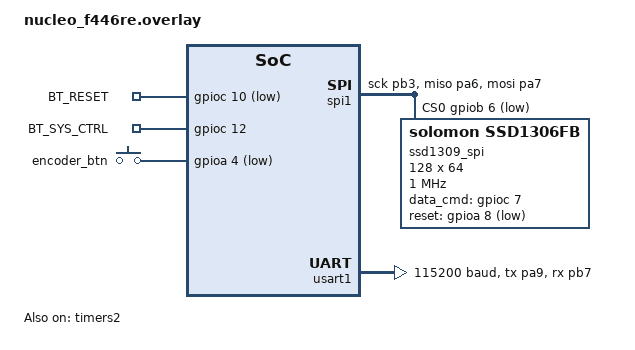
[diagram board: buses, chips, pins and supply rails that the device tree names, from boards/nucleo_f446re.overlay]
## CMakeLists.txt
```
cmake_minimum_required(VERSION 3.20.0)

set(CMAKE_EXPORT_COMPILE_COMMANDS ON)

find_package(Zephyr REQUIRED HINTS $ENV{ZEPHYR_BASE})
project(blamp)

include(FetchContent)
FetchContent_Declare(
  EDF
  GIT_REPOSITORY https://github.com/AdamVeazey/edf.git
  GIT_TAG        dev   # Or a specific commit hash/tag/branch
)

FetchContent_MakeAvailable(EDF)

# FIX: Force EDF to inherit Zephyr's compiler options, include paths, and Picolibc specs
target_link_libraries(EDF PRIVATE zephyr_interface)

target_include_directories(app PRIVATE inc)

target_sources(app PRIVATE
    src/Blamp_Audio.cpp
    src/Blamp_Blampknob.cpp
    src/Blamp_BT.cpp
    src/Blamp.cpp
    src/CLI_audio.cpp
    src/CLI_blampknob.cpp
    src/DisplayUI.cpp
    src/FSC_BT1026.cpp
    src/main.cpp
    src/ThreadBT.cpp
)

target_link_libraries(app PRIVATE EDF)
```

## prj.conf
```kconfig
CONFIG_CPP=y
CONFIG_STD_CPP20=y
CONFIG_GLIBCXX_LIBCPP=y

CONFIG_MAIN_STACK_SIZE=4096
CONFIG_SHELL_STACK_SIZE=2048
CONFIG_LOG_BUFFER_SIZE=1024
CONFIG_SYSTEM_WORKQUEUE_STACK_SIZE=2048

# Enable SPI subsystem
CONFIG_SPI=y

# Enable Display subsystem and the specific driver
CONFIG_DISPLAY=y
CONFIG_SSD1306=y

# Enable LVGL GUI framework
CONFIG_LVGL=y
# Allocate a dedicated memory pool for LVGL objects
CONFIG_LV_Z_MEM_POOL_SIZE=8192
# Tell LVGL we are on a 1-bit monochrome OLED
CONFIG_LV_COLOR_DEPTH_1=y
CONFIG_LV_Z_BITS_PER_PIXEL=1
CONFIG_LV_Z_VDB_SIZE=100
CONFIG_LV_USE_LABEL=y
CONFIG_LV_FONT_DEFAULT_UNSCII_8=y

# Quadrature decoder only needs generic sensor API
CONFIG_SENSOR=y

# Enable Input Subsystem
CONFIG_INPUT=y
CONFIG_INPUT_GPIO_KEYS=y
CONFIG_INPUT_LONGPRESS=y

# Enable the serial driver
CONFIG_SERIAL=y

# DISABLE console and the raw UART backend so it doesn't double print
CONFIG_CONSOLE=n
CONFIG_UART_CONSOLE=n

# Enable shell
CONFIG_SHELL=y
CONFIG_SHELL_BACKEND_SERIAL=y
CONFIG_SHELL_PROMPT_UART=">"

# Enable the logging subsystem
CONFIG_LOG=y
CONFIG_LOG_BACKEND_UART=y
CONFIG_LOG_MODE_DEFERRED=y
# Redirect standard printk messages into the Logger engine
CONFIG_LOG_PRINTK=y

# Setup BT module comms
CONFIG_MODEM_MODULES=y
CONFIG_MODEM_CHAT=y
CONFIG_MODEM_BACKEND_UART=y
CONFIG_UART_INTERRUPT_DRIVEN=y
```

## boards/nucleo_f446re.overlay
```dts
/* app/boards/nucleo_f446re.overlay */

#include <zephyr/dt-bindings/input/input-event-codes.h>

/ {
    chosen {
        zephyr,display = &ssd1309_spi;
    };

    bt_pins {
        compatible = "gpio-leds";

        bt_reset: bt_reset {
            gpios = <&gpioc 10 GPIO_ACTIVE_LOW>;
            label = "BT_RESET"; /* Matches schematic name */
        };

        bt_sys_ctrl: bt_sys_ctrl {
            gpios = <&gpioc 12 GPIO_ACTIVE_HIGH>;
            label = "BT_SYS_CTRL"; /* Matches schematic name */
        };
    };

    buttons {
        compatible = "gpio-keys";
        encoder_btn: encoder_btn {
            gpios = <&gpioa 4 (GPIO_PULL_UP | GPIO_ACTIVE_LOW)>;
            zephyr,code = <INPUT_KEY_SPACE>;
        };
    };

    longpress {
        compatible = "zephyr,input-longpress";
        input-codes = <INPUT_KEY_SPACE>;            /* Listen to this raw code */
        short-codes = <INPUT_KEY_ENTER>;            /* Send this if tapped quickly */
        long-codes  = <INPUT_KEY_MENU>;             /* Send this if held down! */
        long-delay-ms = <800>;                      /* Held threshold (800ms) */
    };

    aliases {
		modem = &usart1;
        bt-reset = &bt_reset;
        bt-sys-ctrl = &bt_sys_ctrl;
	};
};

&spi1 {
    status = "okay";
    /* Matches your working pins: PB3 (CLK) and PA7 (MOSI) */
    pinctrl-0 = <&spi1_sck_pb3 &spi1_miso_pa6 &spi1_mosi_pa7>;
    pinctrl-names = "default";
    cs-gpios = <&gpiob 6 GPIO_ACTIVE_LOW>;

    ssd1309_spi: ssd1309@0 {
        compatible = "solomon,ssd1306fb";
        reg = <0>;
        spi-max-frequency = <1000000>; /* Keep it at a safe 1 MHz */
        width = <128>;
        height = <64>;
        ready-time-ms = <50>;
        segment-offset = <0>;
        page-offset = <0>;
        display-offset = <0>;
        multiplex-ratio = <63>;
        segment-remap;
        com-invdir;
        prechargep = <0x22>;

        /* Working Data/Command and Reset pins */
        data_cmd-gpios = <&gpioc 7 GPIO_ACTIVE_HIGH>;
        reset-gpios = <&gpioa 8 GPIO_ACTIVE_LOW>;
    };
};

&timers2 {
    status = "okay";
    qdec: qdec {
        status = "okay";
        pinctrl-0 = <&tim2_ch1_pa0 &tim2_ch2_pa1>;
        pinctrl-names = "default";
        st,input-filter-level = <5>;
        st,counts-per-revolution = <96>; /* 24 detents * 4 = 96 counts */
    };
};

&usart1 {
	pinctrl-0 = <&usart1_tx_pa9 &usart1_rx_pb7>;
	pinctrl-names = "default";
	current-speed = <115200>;
	status = "okay";
};

&flash0 {
    /delete-node/ partitions;
};
```

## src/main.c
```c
#include <zephyr/kernel.h>
#include <zephyr/sys/printk.h>

int main(void)
{
    printk("Hello World from %s!\n", CONFIG_BOARD);

    while (1) {
        k_msleep(1000);
    }
    return 0;
}
```

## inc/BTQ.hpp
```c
#pragma once

#include "MessageQueue.hpp"
#include "InputSource.hpp"

// Bluetooth Queue message Enumerations
enum class BTQEnum {
    SetPlayback,    // bool play
    SetVolume,      // uint8_t percent (0-100)
};

// Message Queue consumed by ThreadBT
using BTQ = MessageQueue<BTQEnum, 16, 8>;

class BTQ_SetPlayback : public BTQ {
private:
    PlaybackAction action;
public:
    BTQ_SetPlayback( PlaybackAction action ) :
        BTQ( Enum::SetPlayback ),
        action(action)
    { verifyMessageSize<BTQ_SetPlayback>(); }
    PlaybackAction getAction() const { return action; }
};

class BTQ_SetVolume : public BTQ {
private:
    uint8_t percent;
public:
    BTQ_SetVolume( uint8_t percent ) :
        BTQ( Enum::SetVolume ),
        percent(percent)
    { verifyMessageSize<BTQ_SetVolume>(); }
    uint8_t getPercent() const { return percent; }
};
```

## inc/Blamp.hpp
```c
#pragma once

#include "MainSysQ.hpp"
#include "ContextAudio.hpp"
#include "ContextConnections.hpp"
#include "DisplayUI.hpp"


/**
 * Main system coordinator
 */
class Blamp {
private:
    inline static ContextAudio audio;
    inline static ContextConnections connections;
    inline static DisplayUI display;
    inline static DisplayUI::MenuState state;
private:
    // MainSysQ::Enum::Blampknob_*
    static void handleBlampknob_Position( const MainSysQ_BlampKnob_Position& position );
    static void handleBlampknob_Press( const MainSysQ_BlampKnob_Press& press );

    // MainSysQ::Enum::Audio_*
    static void handleAudio_Playback( const MainSysQ_Audio_Playback& action );
    static void handleAudio_ChangeSource( const MainSysQ_Audio_ChangeSource& source );
    static void handleAudio_Volume( const MainSysQ_Audio_Volume& volume );
    static void handleAudio_TAS3251Err( const MainSysQ_Audio_TAS3251Err& err );
    static void handleAudio_PCM9211Err( const MainSysQ_Audio_PCM9211Err& err );

    static void handleBT_IsPlaying( const MainSysQ_BT_IsPlaying& bt );
    static void handleBT_Connected( const MainSysQ_BT_Connected& bt );
public:
    static void init();
    static void processEvents( const MainSysQ& message );
};
```

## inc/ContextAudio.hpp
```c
#pragma once

#include <cstdint>

struct ContextAudio {
    int32_t volume = 0;
    bool isPlaying = false;
    bool isMuted = false;
};
```

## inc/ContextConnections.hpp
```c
#pragma once

#include <cstdint>
#include "InputSource.hpp"

struct ContextConnections {
    bool bluetoothConnected = false;
    bool hdmiArcActive = false;
    bool auxConnected = false;
    bool usbConnected = false;
    InputSource audioSource = InputSource::UNKNOWN;
};
```

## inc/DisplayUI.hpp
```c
#pragma once

#include <cstdint>
#include <lvgl.h>
#include <zephyr/drivers/display.h>
#include "InputSource.hpp"

class DisplayUI {
public:
    enum class MenuState {
        Home,               // Knob turns volume, click toggles play/pause, long-press enters source selection
        SubmenuSelect,      // Knob scrolls submenus, click selects another menu, long-press goes back
            SourceSelect,   // knob scrolls InputSource, click selects a source, long-press goes back
            BTPairing,      // click to cancel
    };
    enum class Submenu {
        InputSourceSelection,
        BluetoothPairing,
    };
private:
    static const device* display;
    static constexpr uint32_t BLANK_TIMEOUT_MS = 10'000;
    uint32_t lastActivityTime = 0;

    // Home Screen
    lv_obj_t* screenHome = nullptr;
    // Home widgets
    lv_obj_t* labelHomeVolume = nullptr;
    lv_obj_t* labelHomePlaying = nullptr;
    lv_obj_t* labelHomeSource = nullptr;

    // Submenu Screen
    lv_obj_t* screenSubmenu = nullptr;
    // Submenu widgets
    lv_obj_t* listSubmenu = nullptr;
    lv_obj_t* btnSubmenuSource = nullptr;
    lv_obj_t* btnSubmenuBT = nullptr;

    // Input Source Slect Screen
    lv_obj_t* screenSourceSelect = nullptr;
    // Source Select widgets
    lv_obj_t* rollerSource = nullptr;

    // Bluetooth Pairing Screen
    lv_obj_t* screenBtPairing = nullptr;

    lv_group_t* groupEncoder = nullptr;
private:
    static void checkInactivityCb_C( lv_timer_t* timer ) { static_cast<DisplayUI*>(timer->user_data)->checkInactivityCb(timer); }
    void checkInactivityCb( lv_timer_t* timer );
    void applyOledStyle( lv_obj_t* obj );
    void applyMonochromeFocusStyle( lv_obj_t* btn );
    void applyMonochromeRollerStyle( lv_obj_t* roller );
    uint16_t inputSourceToRollerIndex( InputSource source );
    InputSource rollerIndexToInputSource( uint16_t index );
public:
    void init();
    void showHomeScreen( bool isPlayingAudio, uint8_t volume, InputSource source );
    void showSubmenuSelect();
    void showSourceSelect( InputSource source );
    void showBTPairing();

    void updateHomeAudioPlaying( bool isPlayingAudio );
    void updateHomeVolume( int32_t volume );
    void updateHomeInputSource( InputSource source );

    void scrollMenuDown();
    void scrollMenuUp();

    Submenu getSubmenuSelected();
    InputSource getInputSourceSelected();

    void resetInactivityTimer();
};
```

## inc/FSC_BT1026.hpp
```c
#pragma once

#include <zephyr/modem/chat.h>
#include <zephyr/modem/backend/uart.h>
#include <optional>
#include <string_view>
#include <EDF/BitField.hpp>
#include <EDF/String.hpp>
#include <EDF/Math.hpp>

namespace FSC {

struct Version {
    EDF::String<32> module;
    EDF::String<32> version;
    EDF::String<32> date;
};

class I2SCFG : public EDF::BitField8 {
    public:
    enum class Frequency {
        FS48000 = 0x00, // 48kHz
        FS44100 = 0x01, // 44.1kHz
    };
    enum class BitDepth {
        B16 = 0x00,
        B24 = 0x01,
        B32 = 0x02,
    };
    using EDF::BitField8::BitField8;

    constexpr bool getEnabled() const { return get(0, 1); }
    constexpr I2SCFG& setEnable( bool enable ) { set(0, 1, enable); return *this; }

    constexpr bool getSlave() const { return get(1, 1); }
    constexpr I2SCFG& setSlave( bool slave ) { set(1, 1, slave); return *this; }

    constexpr Frequency getFrequency() const { return static_cast<Frequency>(get(2, 1)); }
    constexpr I2SCFG& setFrequency( Frequency f ) { set(2, 1, static_cast<uint8_t>(f)); return *this; }

    constexpr bool getRight() const { return get(3, 1); }
    constexpr I2SCFG& setRight( bool enabled ) { set(3, 1, enabled); return *this; }

    constexpr bool getNoDelay() const { return get(4, 1); }
    constexpr I2SCFG& setNoDelay( bool enabled ) { set(4, 1, enabled); return *this; }

    constexpr BitDepth getBitDepth() const { return static_cast<BitDepth>(get(5, 2)); }
    constexpr I2SCFG& setBitDepth( BitDepth depth ) { set(5, 2, static_cast<uint8_t>(depth)); return *this; }
};

class Profile : public EDF::BitField16 {
public:
    using EDF::BitField16::BitField16;

    // Serial Port Profile
    constexpr bool getSPP() const { return get(0, 1); }
    constexpr Profile& setSPP( bool enable ) { set(0, 1, enable); return *this; }

    constexpr bool getGATTServer() const { return get(1, 1); }
    constexpr Profile& setGATTServer( bool enable ) { set(1, 1, enable); return *this; }

    constexpr bool getGATTClient() const { return get(2, 1); }
    constexpr Profile& setGATTClient( bool enable ) { set(2, 1, enable); return *this; }

    constexpr bool getHFP_HF() const { return get(3, 1); }
    constexpr Profile& setHFP_HF( bool enable ) { set(3, 1, enable); return *this; }

    constexpr bool getHFP_AG() const { return get(4, 1); }
    constexpr Profile& setHFP_AG( bool enable ) { set(4, 1, enable); return *this; }

    constexpr bool getA2DPSink() const { return get(5, 1); }
    constexpr Profile& setA2DPSink( bool enable ) { set(5, 1, enable); return *this; }

    constexpr bool getA2DPSource() const { return get(6, 1); }
    constexpr Profile& setA2DPSource( bool enable ) { set(6, 1, enable); return *this; }

    constexpr bool getAVRCPController() const { return get(7, 1); }
    constexpr Profile& setAVRCPController( bool enable ) { set(7, 1, enable); return *this; }

    constexpr bool getAVRCPTarget() const { return get(8, 1); }
    constexpr Profile& setAVRCPTarget( bool enable ) { set(8, 1, enable); return *this; }

    constexpr bool getHIDKeyboard() const { return get(9, 1); }
    constexpr Profile& setHIDKeyboard( bool enable ) { set(9, 1, enable); return *this; }

    constexpr bool getPBAPServer() const { return get(10, 1); }
    constexpr Profile& setPBAPServer( bool enable ) { set(10, 1, enable); return *this; }
};

class DEVSTATE : public EDF::BitField8 {
public:
    using EDF::BitField8::BitField8;

    constexpr bool isPowerOn() const { return get(0, 1); }
    constexpr bool isBR_EDR_Discoverable() const { return get(1, 1); }
    constexpr bool isBLEAdvertising() const { return get(2, 1); }
    constexpr bool isBR_EDR_Scanning() const { return get(3, 1); }
    constexpr bool isBLEScanning() const { return get(4, 1); }
};

enum class SPPSTATE {
    Unsupported     = 0x00,
    Standby         = 0x01,
    Connecting      = 0x02,
    Connected       = 0x03,
};

enum class GATTSTATE {
    Unsupported     = 0x00,
    Standby         = 0x01,
    Connecting      = 0x02,
    Connected       = 0x03,
};

enum class HFPSTATE {
    Unsupported     = 0x00,
    Standby         = 0x01,
    Connecting      = 0x02,
    Connected       = 0x03,
    OutgoingCall    = 0x04,
    IncomingCall    = 0x05,
    ActiveCall      = 0x06,
};

enum class A2DPSTATE {
    Unsupported     = 0x00,
    Standby         = 0x01,
    Connecting      = 0x02,
    Connected       = 0x03,
    Streaming       = 0x04,
};

enum class AVRCPSTATE {
    Unsupported     = 0x00,
    Standby         = 0x01,
    Connecting      = 0x02,
    Connected       = 0x03,
};

enum class HIDSTATE {
    Unsupported     = 0x00,
    Standby         = 0x01,
    Connecting      = 0x02,
    Connected       = 0x03,
};

enum class PBSTATE {
    Unsupported     = 0x00,
    Standby         = 0x01,
    Connecting      = 0x02,
    Connected       = 0x03,
    Downloading     = 0x04,
};

struct STATES {
    DEVSTATE dev;
    SPPSTATE spp;
    GATTSTATE gatt;
    HFPSTATE hfp;
    A2DPSTATE a2dp;
    AVRCPSTATE avrcp;
    HIDSTATE hid;
    PBSTATE pb;
};

enum class SecureSimplePairing {
    LegacyPinCode   = 0x00,
    Auto            = 0x01,
    Display         = 0x02,
};

enum class InputCFG {
    BT      = 0x00,
    LineIn  = 0x01,
    SPDIF   = 0x02,
    I2S     = 0x03,
};

enum class HFPSCO {
    Default     = 0x00, // let system figure it out
    AlwaysToHF  = 0x01, // force audio to HF device
    AlwaysToAG  = 0x02, // force audio to say on audio gateway (phone)
};

class A2DPCFG : public EDF::BitField8 {
public:
    using EDF::BitField8::BitField8;

    constexpr bool getAAC() const { return get(0, 1); }
    constexpr A2DPCFG& setAAC( bool enable ) { set(0, 1, enable); return *this; }

    constexpr bool getAPTX() const { return get(1, 1); }
    constexpr A2DPCFG& setAPTX( bool enable ) { set(1, 1, enable); return *this; }

    constexpr bool getAPTX_LL() const { return get(2, 1); }
    constexpr A2DPCFG& setAPTX_LL( bool enable ) { set(2, 1, enable); return *this; }

    constexpr bool getAPTX_HD() const { return get(3, 1); }
    constexpr A2DPCFG& setAPTX_HD( bool enable ) { set(3, 1, enable); return *this; }

    constexpr bool getAPTX_AD() const { return get(4, 1); }
    constexpr A2DPCFG& setAPTX_AD( bool enable ) { set(4, 1, enable); return *this; }

    constexpr bool getLDAC() const { return get(5, 1); }
    constexpr A2DPCFG& setLDAC( bool enable ) { set(5, 1, enable); return *this; }
};

enum class A2DPDecoder {
    SBC     = 1,
    AAC     = 3,
    APTX    = 5,
    APTX_HD = 7,
    APTX_LL = 8,
    APTX_AD = 9,
    LDAC    = 10,
};
using A2DPEncoder = A2DPDecoder;

class AVRCPCFG : public EDF::BitField8 {
public:
    using EDF::BitField8::BitField8;

    // get track info on track changed
    constexpr bool getTrackInfoOnChange() const { return get(0, 1); }
    constexpr AVRCPCFG& setTrackInfoOnChange( bool enable ) { set(0, 1, enable); return *this; }

    // Get track play progress if value > 0.
    constexpr uint8_t getPlayProgress() const { return get(1, 3); }
    constexpr AVRCPCFG& setPlayProgress(uint8_t v) { set(1, 3, v); return *this; }
};

enum class PBDown {
    PhonebookSIM    = 0, // SIM storage
    PhonebookPhone  = 1, // Phone storage
    ReceivedCallLog = 2,
    DialedCallLog   = 3,
    MissedCallLog   = 4,
    AllCallLog      = 5,
};

enum class HIDMode {
    HexKeyCode      = 0,
    ASCIIKeyCode    = 1, // English
};

enum class HIDCommand : uint16_t {
    PlayPause               = 0x00CD,
    Stop                    = 0x00B7,
    Forward                 = 0x00B5,
    Backward                = 0x00B6,
    FastForward             = 0x00B3,
    Rewind                  = 0x00B4,
    Record                  = 0x00B2,
    VolumeUp                = 0x00E9,
    VolumeDown              = 0x00EA,
    Mute                    = 0x00E2,
    OnScreenKeyboardToggle  = 0x01AE,
};

enum class PlayState {
    Stopped         = 0x00,
    Playing         = 0x01,
    Paused          = 0x02,
    FastForward     = 0x03,
    FastRewinding   = 0x04,
};

struct TrackState {
    PlayState playState;
    uint32_t elapsedTime_ms;
    uint32_t totalTime_ms;
};

struct TrackInfo {
    EDF::String<64> title;
    EDF::String<64> artist;
    EDF::String<64> album;
};

// Command memory
struct Response {
    EDF::String<32> expected;
    EDF::String<32> argv[10];
    uint16_t argc;
    Response() : argc(0) {}
};

// Event Handlers
struct Events {
    using OnScanResult = void(*)(
        int16_t index, // -1 = end
        uint8_t addressType, // 0 = BLE Public, 1 = BLE random, 2 = BR/EDR
        const EDF::String<13>& mac,
        int8_t rssi,
        uint8_t dataLen,
        const uint8_t* data
    );
    using OnPaired = void(*)(const EDF::String<13>& mac);
    using OnStateDevice = void(*)(DEVSTATE state);
    using OnStateA2DP = void(*)(A2DPSTATE state);
    using OnDeviceA2DPConnected = void(*)(
        const EDF::String<13>& mac,
        const char* remoteName
    );
    using OnStateAVRCP = void(*)(AVRCPSTATE state);
    using OnStatePlay = void(*)(PlayState state);
    using OnStateTrack = void(*)(TrackState state);
    using OnTrackInfo = void(*)(const TrackInfo& info);
    OnScanResult onScanResult;
    OnPaired onPaired;
    OnStateDevice onStateDevice;
    OnStateA2DP onStateA2DP;
    OnDeviceA2DPConnected onDeviceA2DPConnected;
    OnStateAVRCP onStateAVRCP;
    OnStatePlay onStatePlay;
    OnStateTrack onStateTrack;
    OnTrackInfo onTrackInfo;
};

class BT1026 {
private:
    const device* const uart;
    modem_backend_uart backend;
    modem_chat chat;
    uint8_t uartRx[512];
    uint8_t chatRx[512];
    uint8_t uartTx[256];
    uint8_t* chatArgv[32];

    Response response;
    Events events;

    // Concurrency controls
    k_mutex lock;
    k_sem syncSem;
    modem_chat_script_result lastResult;
public:
    void callbackMatchOK( modem_chat* chat, char** argv, uint16_t argc );
    void callbackMatchERROR( modem_chat* chat, char** argv, uint16_t argc );
    void callbackMatchUnsolicited( modem_chat* chat, char** argv, uint16_t argc );
private:
    bool runSingleCommand( const char* cmd, const char* expected = nullptr );
    void asyncResponse( char** argv, uint16_t argc );
public:
    BT1026( const device* const uart, const Events& events = {} );
    int init();

    std::optional<Version> getVersion();

    std::optional<uint32_t> getBaudrate();
    bool setBaudrate( uint32_t baudrate );

    std::optional<I2SCFG> getI2SCFG();
    bool setI2SCFG( I2SCFG cfg );

    std::optional<bool> getSPDIFCFG();
    bool setSPDIFCFG( bool enable );

    std::optional<int32_t> getMicGain();
    bool setMicGain( int32_t gain );

    std::optional<int32_t> getSpkVol();
    bool setSpkVol( int32_t volume );

    bool reboot();
    bool factoryReset();

    std::optional<bool> getBluetoothIsOn();
    bool setBluetooth( bool on );

    std::optional<Profile> getProfile();
    bool setProfile( Profile p );

    std::optional<uint8_t> getAutoConn();
    bool setAutoConn(uint8_t maxAttempts);

    std::optional<STATES> getAllStates();
    std::optional<DEVSTATE> getDevState();
    std::optional<EDF::String<13>> getAddress();
    std::optional<EDF::String<13>> getBLEAddress();

    std::optional<EDF::String<32>> getName();
    bool setName(const EDF::String<32>& name, bool enableMACSuffix = true);

    std::optional<EDF::String<32>> getBLEName();
    bool setBLEName(const EDF::String<32>& name, bool enableMACSuffix = true);

    std::optional<SecureSimplePairing> getSPP();
    bool setSPP(SecureSimplePairing m); // NOTE: Needs reboot

    std::optional<EDF::String<16>> getPin();
    bool setPin(const EDF::String<16>& pin);

    std::optional<EDF::String<7>> getCOD(); // Have fun
    bool setCOD(const EDF::String<7>& cod); // http://bluetooth-pentest.narod.ru/software/bluetooth_class_of_device-service_generator.html

    std::optional<bool> getAdvertising();
    bool setAdvertising(bool start);

    bool setScanning(bool start); // a bunch of responses happen

    bool getPairedList(); // A bunch of respones happen
    bool delPaired(uint8_t index);
    bool delAllConnections();

    std::optional<bool> getThroughputMode();
    bool setThroughputMode(bool enable);

    std::optional<InputCFG> getInputCFG();
    bool setInputCFG(InputCFG in);

    std::optional<bool> getPrint();
    bool setPrint(bool enable);

    bool setTone(uint8_t tone); // 0-94?

    std::optional<uint8_t> getMutePIO();
    bool setMutePIO(uint8_t pin); // 0-63

    std::optional<bool> setMicMute(bool enable);
    std::optional<bool> setSpkMute(bool enable);

    std::optional<SPPSTATE> getSPPState();
    bool SPPConnect(const EDF::String<13>& mac = "");
    bool SPPRelease();
    bool SPPSend(const EDF::String<493>& data); // UTF-8

    std::optional<GATTSTATE> getGATTState();
    bool GATTRelease();
    bool GATTSend(const EDF::String<493>& data); // UTF-8

    std::optional<HFPSTATE> getHFPState();

    std::optional<uint16_t> getHFPRes();
    bool setHFPRes(uint16_t hz); // 0-48,000

    bool HFPConnect(const EDF::String<13>& mac = "");

    bool HFPRelease();

    bool HFPDial(const EDF::String<26>& phoneNumber); // +123 (123) 456-7890
    bool HFPDTMF(char dtmf); // 0-9,#,* (dial-tone multi-frequency)
    bool HFPCallPickup();
    bool HFPCallHangup();
    bool HFPTransferAudio(bool deviceToModule); // module -> device if false
    bool HFPVoiceRecognition(bool start); // like siri
    bool setHFPSCO(HFPSCO config);
    bool setHFPBattery(uint8_t level); // 0-9

    std::optional<A2DPSTATE> getA2DPState();
    bool A2DPConnect(const EDF::String<13>& mac = "");
    bool A2DPRelease();

    std::optional<A2DPCFG> getA2DPCFG();
    bool setA2DPCFG(A2DPCFG config);

    std::optional<A2DPDecoder> getA2DPDecoder();
    std::optional<A2DPEncoder> getA2DPEncoder();
    bool setA2DPConnection(bool establish);

    std::optional<AVRCPSTATE> getAVRCPState();

    std::optional<AVRCPCFG> getAVRCPCFG();
    bool setAVRCPCFG(AVRCPCFG config);

    bool playPause();
    bool play();
    bool pause();
    bool stop();
    bool forward();
    bool backward();
    bool fastForward(bool pressDown); // false for pressUp (release button)
    bool rewind(bool pressDown); // false for pressUp (release button)

    std::optional<HIDSTATE> getHIDState();
    bool HIDConnect(const EDF::String<13>& mac = "");
    bool HIDRelease();
    std::optional<HIDMode> getHIDMode();
    bool setHIDMode(HIDMode mode);
    std::optional<bool> getHIDAutoRelease();
    bool setHIDAutoRelease(bool enable); // false for manual
    std::optional<uint32_t> getHIDDelay();
    bool setHIDDelay(uint32_t ms);
    bool HIDSend(const EDF::String<33>& key);
    bool HIDCmd(HIDCommand cmd);

    std::optional<PBSTATE> getPBState();
    bool PBConnect(const EDF::String<13>& mac = "");
    bool PBRelease();
    bool PBDownload(PBDown type);
    bool PBDownload(PBDown type, uint16_t maxItems);
};

}; /* FSC */
```

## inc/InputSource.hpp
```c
#pragma once

enum class InputSource {
    AUX_IN,
    RCA_DIGITAL_COAX,
    OPTICAL,
    HDMI_ARC,
    USB,
    BLUETOOTH,
    UNKNOWN,
};

enum class PlaybackAction {
    Play,
    Pause,
    Forward,
    Backward,
};

constexpr bool canControlPlaybackActions( InputSource s ) {
    switch(s) {
    case InputSource::HDMI_ARC:
    case InputSource::USB:
    case InputSource::BLUETOOTH:
        return true;
    case InputSource::AUX_IN:
    case InputSource::RCA_DIGITAL_COAX:
    case InputSource::OPTICAL:
    case InputSource::UNKNOWN:
    default:
        return false;
    }
}

constexpr const char* toString( InputSource s ) {
    switch(s){
    case InputSource::AUX_IN:           return "AUX_IN";
    case InputSource::RCA_DIGITAL_COAX: return "RCA_DIGITAL_COAX";
    case InputSource::OPTICAL:          return "OPTICAL";
    case InputSource::HDMI_ARC:         return "HDMI_ARC";
    case InputSource::USB:              return "USB";
    case InputSource::BLUETOOTH:        return "BLUETOOTH";
    case InputSource::UNKNOWN:
    default:                            return "UNKNOWN";
    }
}
```

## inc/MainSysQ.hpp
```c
#pragma once

#include "MessageQueue.hpp"
#include "InputSource.hpp"

enum class MainSysQEnum {
    BlampKnob_Position,  // int32_t previous, int32_t current
    BlampKnob_Press,     // enum Type : uint8_t { Short, Long }

    Audio_Playback,     // enum Action : uint8_t { Play, Pause, Forward, Backward }
    Audio_ChangeSource, // enum Source : uint8_t { Aux, RCA, TOSLINK, HDMI_ARC, BT, USB }
    Audio_Volume,       // uint8_t volume_percent; (0-100)
    Audio_TAS3251Err,   // enum Source : uint8_t { nFAULT, nCLIP_OTW }
    Audio_PCM9211Err,   // enum Source : uint8_t { INT0, INT1 }

    BT_IsPlaying,        // bool isPlaying
    BT_Connected,        // bool connected
};

using MainSysQ = MessageQueue<MainSysQEnum, 16, 200>;

// ----------------------------------------------------------------------------
//               BlampKnob messages to Main System Thread
// ----------------------------------------------------------------------------

// Sent from encoder callback
class MainSysQ_BlampKnob_Position : public MainSysQ {
private:
    int32_t previous;
    int32_t current;
public:
    MainSysQ_BlampKnob_Position( int32_t previous, int32_t current ) :
        MainSysQ( Enum::BlampKnob_Position ),
        previous(previous),
        current(current)
    { verifyMessageSize<MainSysQ_BlampKnob_Position>(); }
    int32_t getPrevious() const { return previous; }
    int32_t getCurrent() const { return current; }
    int32_t getDelta() const { return current - previous; }
};

// Sent from Input driver callback
class MainSysQ_BlampKnob_Press : public MainSysQ {
public:
    enum class Type : uint8_t { Short, Long };
private:
    Type type;
public:
    MainSysQ_BlampKnob_Press( Type type ) :
        MainSysQ( Enum::BlampKnob_Press ),
        type(type)
    { verifyMessageSize<MainSysQ_BlampKnob_Press>(); }
    Type getType() const { return type; }
};

// ----------------------------------------------------------------------------
//                  Audio messages to Main System Thread
// ----------------------------------------------------------------------------

// Sent from BT Comms, CLI, HDMI ARC, and USB threads
class MainSysQ_Audio_Playback : public MainSysQ {
private:
    PlaybackAction action;
public:
    MainSysQ_Audio_Playback( PlaybackAction action ) :
        MainSysQ( Enum::Audio_Playback ),
        action(action)
    { verifyMessageSize<MainSysQ_Audio_Playback>(); }
    PlaybackAction getAction() const { return action; }
};

// Sent from CLI
class MainSysQ_Audio_ChangeSource : public MainSysQ {
private:
    InputSource source;
public:
    MainSysQ_Audio_ChangeSource( InputSource source ) :
        MainSysQ( Enum::Audio_ChangeSource ),
        source(source)
    { verifyMessageSize<MainSysQ_Audio_ChangeSource>(); }
    InputSource getInputSource() const { return source; }
};

// Sent from BT Comms, CLI, HDMI ARC, and USB threads
class MainSysQ_Audio_Volume : public MainSysQ {
private:
    uint8_t volume_percent; // 0 - 100
public:
    MainSysQ_Audio_Volume( uint8_t volume_percent ) :
        MainSysQ( Enum::Audio_Volume ),
        volume_percent(volume_percent)
    { verifyMessageSize<MainSysQ_Audio_Volume>(); }
    uint8_t getVolumePercent() const { return volume_percent; }
};


// Sent from GPIO interrupt service routine
class MainSysQ_Audio_TAS3251Err : public MainSysQ {
public:
    enum class Source : uint8_t { nFAULT, nCLIP_OTW, };
private:
    Source source;
public:
    MainSysQ_Audio_TAS3251Err( Source source ) :
        MainSysQ( Enum::Audio_TAS3251Err ),
        source(source)
    { verifyMessageSize<MainSysQ_Audio_TAS3251Err>(); }
    Source getSource() const { return source; }
};

// Sent from GPIO interrupt service routine
class MainSysQ_Audio_PCM9211Err : public MainSysQ {
public:
    enum class Source : uint8_t { INT0, INT1, };
private:
    Source source;
public:
    MainSysQ_Audio_PCM9211Err( Source source ) :
        MainSysQ( Enum::Audio_PCM9211Err ),
        source(source)
    { verifyMessageSize<MainSysQ_Audio_PCM9211Err>(); }
    Source getSource() const { return source; }
};

// ----------------------------------------------------------------------------
//                 Bluetooth messages to Main System Thread
// ----------------------------------------------------------------------------

// from kworker event thread
class MainSysQ_BT_IsPlaying : public MainSysQ {
private:
    bool playing;
public:
    MainSysQ_BT_IsPlaying( bool playing ) :
        MainSysQ( Enum::BT_IsPlaying ),
        playing(playing)
    { verifyMessageSize<MainSysQ_BT_IsPlaying>(); }
    bool isPlaying() const { return playing; }
};

// from kworker event thread
class MainSysQ_BT_Connected : public MainSysQ {
private:
    bool connected;
public:
    MainSysQ_BT_Connected( bool connected ) :
        MainSysQ( Enum::BT_Connected ),
        connected(connected)
    { verifyMessageSize<MainSysQ_BT_Connected>(); }
    bool isConnected() const { return connected; }
};
```

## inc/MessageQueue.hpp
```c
#pragma once

#include <zephyr/kernel.h>

/*
 * ARCHITECTURE NOTE: Intentional Stack Over-read
 *
 * To maintain clean, decentralized C++ syntax without relying on massive global
 * unions, this queue implementation intentionally allows Zephyr's underlying
 * memcpy() to read past the memory footprint of smaller derived classes up
 * to MAX_MSG_SIZE.
 *
 * RISKS & MITIGATIONS:
 * 1. Size Overflow: A derived class MUST NOT exceed MAX_MSG_SIZE, or Zephyr
 *    will slice the payload.
 *    (Mitigation: Add `static_assert(sizeof(*this) <= MAX_MSG_SIZE);` to your
 *    derived class constructors).
 *
 * 2. MPU HardFaults: Because memcpy() reads past the object, it copies adjacent
 *    stack garbage. If this read were to cross the thread's hardware stack boundary,
 *    it would trigger a MemManage/HardFault.
 *    (Mitigation: ARM stacks grow downwards. Because these temporary objects are
 *    instantiated deep inside active function frames—with caller data and return
 *    addresses sitting "above" them in memory—this upward over-read will merely
 *    copy harmless stack data and will practically never hit the MPU guard page).
 */

template<typename E, size_t MAX_MSG_SIZE, size_t MAX_NUM_MSGS>
class MessageQueue {
public:
    using Enum = E;
    using Message = uint8_t[MAX_MSG_SIZE];
    enum class ErrSend {
        Sent = 0,           // Message sent.
        QFull = -ENOMSG,    // -ENOMSG Returned without waiting or queue purged.
        Timeout = -EAGAIN,  // -EAGAIN Waiting period timed out.
        Uninitialized,      // Need to call init()
    };
    enum class ErrReceive {
        Received = 0,           // Message received
        ReceivedWrongMessage,   // Unexpected message received
        QEmpty = -ENOMSG,       // -ENOMSG Returned without waiting or queue purged.
        Timeout = -EAGAIN,      // -EAGAIN Waiting period timed out.
        Uninitialized,          // Need to call init()
    };
protected:
    template<typename Derived>
    constexpr void verifyMessageSize() {
        static_assert( sizeof(Derived) <= MAX_MSG_SIZE,
            "Derived class size is too large! "
            "Make Derived smaller OR increase MAX_MSG_SIZE"
        );
    }
private:
    inline static struct k_msgq queue;
    inline static char __aligned(4) buffer[MAX_MSG_SIZE * MAX_NUM_MSGS];
    inline static bool initialized = false;
    E id;
public:
    inline static void init() {
        if(!initialized) {
            k_msgq_init(&queue, buffer, MAX_MSG_SIZE, MAX_NUM_MSGS);
            initialized = true;
        }
    }
    MessageQueue( E id ) : id(id) {}
    inline const E getId() const { return id; }
    inline ErrSend send( k_timeout_t timeout = K_NO_WAIT ) {
        if( !initialized ) return ErrSend::Uninitialized;
        return static_cast<ErrSend>(k_msgq_put( &queue, this, timeout ));
    }
    inline static ErrReceive receive( Message& messageOut, k_timeout_t timeout = K_FOREVER ) {
        if( !initialized ) return ErrReceive::Uninitialized;
        return static_cast<ErrReceive>(k_msgq_get( &queue, &messageOut, timeout ));
    }
    inline static bool isEmpty() {
        return k_msgq_num_used_get( &queue ) == 0;
    }
};

/*
You can then make an Enum like

enum class MainSysEnum : uint8_t {
    Play,
    Pause,
    Mute
    Volume, // int8_t adjust
};

using MainSysQ = MessageQueue<MainSysEnum, 2, 10>;

class MainSysQ_Volume : public MainSysQ {
private:
    int8_t adjust;
public:
    MainSysQ_Volume(int8_t adjust) :
        MainSysQ(MainSys_play),
        adjust(adjust)
    { verifyMessageSize<MainSysQ_Volume>(); };
    inline const getAdjust() const { return adjust; }
};

and you can use it simply like

... in a function
MainSysQ_Volume(-1).send();

the receiving side looks like

void handleVolume(const MainSysQ_Volume& volume) {
    board.volume += volume.getAdjust();
}

// ... somewhere else

using Q = MainSysQ;
Q::Message m;
if( Q::receive(m) == Q::ErrReceive::Received ) {
    switch( ((const Q&)m.data()).getId() ) {
    case Q::Enum::Volume: handleVolume( (const MainSysQ_Volume&)m ); break;
    }
}

*/
```

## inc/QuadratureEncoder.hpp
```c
#pragma once

#include <zephyr/drivers/sensor.h>

/*
 * Intended to be used with Device Tree
 * QuadratureEncoder qdec( DEVICE_DT_GET(DT_NODELABEL(qdec)) );
 * qdec.getValue();
 */
class QuadratureEncoder {
private:
    const device* const dev;
public:
    QuadratureEncoder( const device* const dev ) : dev(dev) {}
    bool isReady() const { return device_is_ready(dev); }
    int32_t getValue() const {
        sensor_value v;
        sensor_sample_fetch( dev );
        sensor_channel_get( dev, SENSOR_CHAN_ROTATION, &v );
        return v.val1;
    };
};

class MockQuadratureEncoder {
private:
    static inline int32_t current = 0;
public:
    static bool isReady() { return true; }
    static int32_t getValue() { return current; };
    static void mockRotate( int32_t value ) { current += value; }
};
```

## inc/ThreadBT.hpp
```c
#pragma once

/**
 * Required Aliases:
 * aliases {
 *     modem = &usart1;
 *     bt-reset = &bt_reset;
 *     bt-sys-ctrl = &bt_sys_ctrl;
 * };
 *
 * Example Target Nodes:
 * &usart1 {
 *     current-speed = <115200>;
 *     status = "okay";
 * };
 *
 * bt_pins {
 *     compatible = "gpio-leds";
 *     bt_reset: bt_reset {
 *         gpios = <&gpioc 10 GPIO_ACTIVE_LOW>;
 *     };
 *     bt_sys_ctrl: bt_sys_ctrl {
 *         gpios = <&gpioc 12 GPIO_ACTIVE_HIGH>;
 *     };
 * };
 */

void threadBT(void* arg1, void* arg2, void* arg3);
```

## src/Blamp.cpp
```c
#include "Blamp.hpp"


void Blamp::
init() {
    MainSysQ::init();
    display.init();
    display.showHomeScreen( audio.isPlaying, audio.volume, connections.audioSource );
    state = DisplayUI::MenuState::Home;
}

void Blamp::
processEvents( const MainSysQ& message ) {
    using E = MainSysQ::Enum;
    switch( message.getId() ) {
    case E::BlampKnob_Position: handleBlampknob_Position( (const MainSysQ_BlampKnob_Position&)message );    break;
    case E::BlampKnob_Press:    handleBlampknob_Press( (const MainSysQ_BlampKnob_Press&)message );          break;

    case E::Audio_Playback:     handleAudio_Playback( (const MainSysQ_Audio_Playback&)message );            break;
    case E::Audio_ChangeSource: handleAudio_ChangeSource( (const MainSysQ_Audio_ChangeSource&)message );    break;
    case E::Audio_Volume:       handleAudio_Volume( (const MainSysQ_Audio_Volume&)message );                break;
    case E::Audio_TAS3251Err:   handleAudio_TAS3251Err( (const MainSysQ_Audio_TAS3251Err&)message );        break;
    case E::Audio_PCM9211Err:   handleAudio_PCM9211Err( (const MainSysQ_Audio_PCM9211Err&)message );        break;

    case E::BT_IsPlaying:       handleBT_IsPlaying( (const MainSysQ_BT_IsPlaying&)message );                break;
    case E::BT_Connected:       handleBT_Connected( (const MainSysQ_BT_Connected&)message );                break;
    }
}
```
